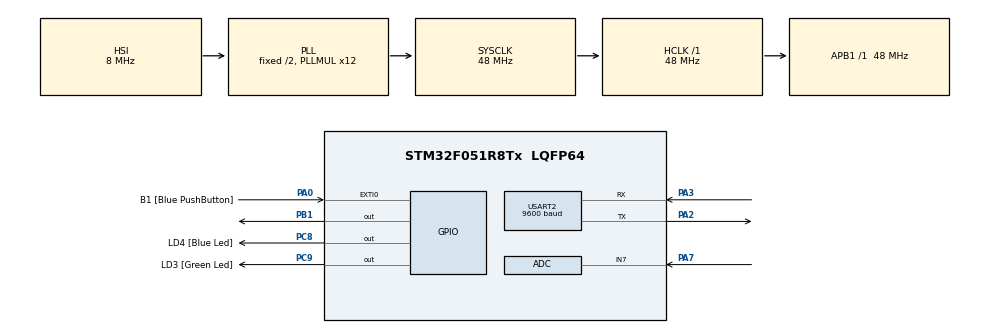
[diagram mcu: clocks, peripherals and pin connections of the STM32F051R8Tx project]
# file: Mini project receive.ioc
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Dma.ADC.0.Direction=DMA_PERIPH_TO_MEMORY
Dma.ADC.0.Instance=DMA1_Channel1
Dma.ADC.0.MemDataAlignment=DMA_MDATAALIGN_HALFWORD
Dma.ADC.0.MemInc=DMA_MINC_ENABLE
Dma.ADC.0.Mode=DMA_NORMAL
Dma.ADC.0.PeriphDataAlignment=DMA_PDATAALIGN_HALFWORD
Dma.ADC.0.PeriphInc=DMA_PINC_DISABLE
Dma.ADC.0.Priority=DMA_PRIORITY_LOW
Dma.Request0=ADC
Dma.Request1=USART2_TX
Dma.USART2_TX.1.Direction=DMA_MEMORY_TO_PERIPH
Dma.USART2_TX.1.Instance=DMA1_Channel4
Dma.USART2_TX.1.MemDataAlignment=DMA_MDATAALIGN_BYTE
Dma.USART2_TX.1.MemInc=DMA_MINC_ENABLE
Dma.USART2_TX.1.Mode=DMA_NORMAL
Dma.USART2_TX.1.PeriphDataAlignment=DMA_PDATAALIGN_BYTE
Dma.USART2_TX.1.PeriphInc=DMA_PINC_DISABLE
Dma.USART2_TX.1.Priority=DMA_PRIORITY_LOW
Mcu.Family=STM32F0
Mcu.Name=STM32F051R8Tx
Mcu.Package=LQFP64
NVIC.ADC1_COMP_IRQn=true\:0\:0\:false\:false\:true\:true\:true\:true
NVIC.DMA1_Channel1_IRQn=true\:0\:0\:false\:false\:true\:false\:true\:true
NVIC.DMA1_Channel4_5_IRQn=true\:0\:0\:false\:false\:true\:false\:true\:true
NVIC.EXTI0_1_IRQn=true\:0\:0\:false\:false\:true\:true\:true\:true
PA0.GPIO_Label=B1 [Blue PushButton]
PA0.GPIO_ModeDefaultEXTI=GPIO_MODE_IT_FALLING
PA0.Signal=GPXTI0
PA13.GPIO_Label=SWDIO
PA13.Mode=Serial_Wire
PA13.Signal=SYS_SWDIO
PA14.GPIO_Label=SWCLK
PA14.Mode=Serial_Wire
PA14.Signal=SYS_SWCLK
PA2.Mode=Asynchronous
PA2.Signal=USART2_TX
PA3.Mode=Asynchronous
PA3.Signal=USART2_RX
PA7.Mode=IN7
PA7.Signal=ADC_IN7
PB1.Signal=GPIO_Output
PB6.Signal=I2C1_SCL
PB7.Signal=I2C1_SDA
PC8.GPIO_Label=LD4 [Blue Led]
PC8.Signal=GPIO_Output
PC9.GPIO_Label=LD3 [Green Led]
PC9.PinState=GPIO_PIN_SET
PC9.Signal=GPIO_Output
PF0-OSC_IN.Mode=HSE-External-Oscillator
PF0-OSC_IN.Signal=RCC_OSC_IN
PF1-OSC_OUT.Mode=HSE-External-Oscillator
PF1-OSC_OUT.Signal=RCC_OSC_OUT
ProjectManager.HeapSize=0x200
ProjectManager.StackSize=0x400
ProjectManager.TargetToolchain=STM32CubeIDE
RCC.AHBFreq_Value=48000000
RCC.APB1Freq_Value=48000000
RCC.APB1TimFreq_Value=48000000
RCC.HCLKFreq_Value=48000000
RCC.PLLMUL=RCC_PLL_MUL12
RCC.SYSCLKFreq_VALUE=48000000
RCC.SYSCLKSource=RCC_SYSCLKSOURCE_PLLCLK
USART2.BaudRate=9600
USART2.VirtualMode-Asynchronous=VM_ASYNC
board=STM32F0DISCOVERY

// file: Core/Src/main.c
/* USER CODE BEGIN Header */

/* USER CODE END Header */
#include "main.h"
#include <math.h>

ADC_HandleTypeDef hadc;
DMA_HandleTypeDef hdma_adc;

UART_HandleTypeDef huart2;
DMA_HandleTypeDef hdma_usart2_tx;

/* USER CODE BEGIN PV */
uint32_t val =0;
uint32_t b = 0;
int binary = 0;
char buffer1[32];
int buffer[12];
uint32_t delay=200;
uint32_t bounce = 0;
int counter =  0;
int inversCounter;

//TO DO:
//TASK 1
//Create global variables for debouncing and delay interval

/* USER CODE END PV */

void SystemClock_Config(void);
static void MX_GPIO_Init(void);
static void MX_DMA_Init(void);
static void MX_USART2_UART_Init(void);
static void MX_ADC_Init(void);
/* USER CODE BEGIN PFP */
void EXTI0_1_IRQHandler(void);
uint32_t pollADC(void);
int binaryToDecimal(int n);

/* USER CODE END PFP */

int main(void)
{

  /* MCU Configuration--------------------------------------------------------*/

  /* Reset of all peripherals, Initializes the Flash interface and the Systick. */
  HAL_Init();

  /* Configure the system clock */
  SystemClock_Config();

  /* Initialize all configured peripherals */
  MX_GPIO_Init();
  MX_DMA_Init();
  MX_USART2_UART_Init();
  MX_ADC_Init();
  /* USER CODE BEGIN 2 */

  //TO DO:
  //Create variables needed in while loop

  /* USER CODE END 2 */

  /* Infinite loop */
  while (1)
  {
	  pollADC();
    /* USER CODE BEGIN 3 */
	  if (delay != 50){
	      	   if (delay == 200){
	      	   		if(	val < 3000){
	      	   		HAL_GPIO_WritePin(GPIOC, GPIO_PIN_9, GPIO_PIN_RESET); // TOGGLE GREEN TO SHOW MASSAGE READY
	      	   			HAL_Delay(delay);
	      	   			pollADC();
	      	   			if(val > 3000){
	      	   				HAL_Delay(delay);
	      	   				pollADC();
	      	   				if(val < 3000){
	      	   					HAL_Delay(delay);
	      	   					pollADC();
	      	   					if (val > 3000){
	      	   						HAL_Delay(delay);
	      	   					HAL_GPIO_WritePin(GPIOC, GPIO_PIN_9, GPIO_PIN_SET); // TOGGLE GREEN TO SHOW MASSAGE READY TO GET DATA
	      	   						delay = 500;
	      	   						}
	      	   					}
	      	   				}
	      	   			}
	      	   		}
	      	   	}
	  if (delay == 500){
		  HAL_GPIO_WritePin(GPIOC, GPIO_PIN_8, GPIO_PIN_SET); // SET BLUE LED HIGH TO SHOW READY TO READ DATA
		  for  (counter = 0 ; counter <12 ; counter++){
			  pollADC();// LDR DATA IS SAMPLED
			  if (val < 3000){// COMPARE VALUE TO A SET VALUE
				  b = 1; // IF SMALL THE IT IS AN LED OF READING AND B IS SET
			  }
			  else{b=0;}// ELSS IT IS A HIGH AND BE IS SET
			  buffer[counter] = b;
			  sprintf(buffer1, "transmit  value:\n %d\r\n", b);//ITS STORD IN A BUFFER THAT WILL BE PRINTED ON PUTTY
			  HAL_UART_Transmit(&huart2, (uint8_t*)buffer1, sizeof(buffer1), 500);
			  HAL_Delay(delay);// THE DELAY IS SET THIS IS DONE TO MATCH THE LED TIMEING AND TO MAKE SURE THE SAMPLE DATA IS THE SAME
		  }

		  if (counter != 12){for(int i=0; i<5;i++){ // IF THERE ARE ANY TIMING ERRORS THEN THE GREEN LED WILL FLASH TO SHOW IT
			  HAL_GPIO_TogglePin(GPIOC, GPIO_PIN_9);
			  HAL_Delay(100);}
		  }
		  // CONVERT THE BINARY DATA TO ITS ADC EQUVALENT AND HANCE IT MUST MATCH THE GIVEN ADC VALUE
		  inversCounter = counter -1;
		  for (int i = 0; i < counter; i++){
			  binary = binary + (int)pow(2,inversCounter)*buffer[i];
			  inversCounter--;
		  }
		  sprintf(buffer1, "Decimal ADC:\n %d\r\n", binary);//ITS STORD IN A BUFFER THAT WILL BE PRINTED ON PUTTY
		  HAL_UART_Transmit(&huart2, (uint8_t*)buffer1, sizeof(buffer1), 500);
		  binary = 0;// AFTER TRANSMISSION REST VALUE FOR NEXT DATA SAMPLE
		  counter = 0;// RESET FOR NEXT DATA SAMPLE
		  HAL_GPIO_WritePin(GPIOC, GPIO_PIN_8, GPIO_PIN_RESET);// SHOWS THAT DATA IS DONE RECIVING AND WILL TURN OF BLUE LED
		  delay = 100;
	  }
	  if(delay == 100){
		  pollADC();
		  if(val < 3000){// CHECKS IF END BIT IS CORRECT
			  HAL_GPIO_WritePin(GPIOC, GPIO_PIN_9, GPIO_PIN_RESET); // TOGGLE GREEN TO SHOW MASSAGE done AND START OF END BIT
			  HAL_Delay(900);
			  HAL_GPIO_WritePin(GPIOC, GPIO_PIN_9, GPIO_PIN_SET);// THIS IS TO SHOW END BIT WAS SEEN
			  delay = 200;//NEW DELAY VALUE IS SET FOR THE RECEIVER TO GO BACK TO WAITING FOR THE START BIT
		  }
	  }
	         }

  /* USER CODE END 3 */
}

void SystemClock_Config(void)
{
  RCC_OscInitTypeDef RCC_OscInitStruct = {0};
  RCC_ClkInitTypeDef RCC_ClkInitStruct = {0};

  /** Initializes the RCC Oscillators according to the specified parameters
  * in the RCC_OscInitTypeDef structure.
  */
  RCC_OscInitStruct.OscillatorType = RCC_OSCILLATORTYPE_HSI|RCC_OSCILLATORTYPE_HSI14;
  RCC_OscInitStruct.HSIState = RCC_HSI_ON;
  RCC_OscInitStruct.HSI14State = RCC_HSI14_ON;
  RCC_OscInitStruct.HSICalibrationValue = RCC_HSICALIBRATION_DEFAULT;
  RCC_OscInitStruct.HSI14CalibrationValue = 16;
  RCC_OscInitStruct.PLL.PLLState = RCC_PLL_ON;
  RCC_OscInitStruct.PLL.PLLSource = RCC_PLLSOURCE_HSI;
  RCC_OscInitStruct.PLL.PLLMUL = RCC_PLL_MUL12;
  RCC_OscInitStruct.PLL.PREDIV = RCC_PREDIV_DIV1;
  if (HAL_RCC_OscConfig(&RCC_OscInitStruct) != HAL_OK)
  {
    Error_Handler();
  }

  /** Initializes the CPU, AHB and APB buses clocks
  */
  RCC_ClkInitStruct.ClockType = RCC_CLOCKTYPE_HCLK|RCC_CLOCKTYPE_SYSCLK
                              |RCC_CLOCKTYPE_PCLK1;
  RCC_ClkInitStruct.SYSCLKSource = RCC_SYSCLKSOURCE_PLLCLK;
  RCC_ClkInitStruct.AHBCLKDivider = RCC_SYSCLK_DIV1;
  RCC_ClkInitStruct.APB1CLKDivider = RCC_HCLK_DIV1;

  if (HAL_RCC_ClockConfig(&RCC_ClkInitStruct, FLASH_LATENCY_1) != HAL_OK)
  {
    Error_Handler();
  }
}

static void MX_ADC_Init(void)
{

  ADC_ChannelConfTypeDef sConfig = {0};

  /** Configure the global features of the ADC (Clock, Resolution, Data Alignment and number of conversion)
  */
  hadc.Instance = ADC1;
  hadc.Init.ClockPrescaler = ADC_CLOCK_ASYNC_DIV1;
  hadc.Init.Resolution = ADC_RESOLUTION_12B;
  hadc.Init.DataAlign = ADC_DATAALIGN_RIGHT;
  hadc.Init.ScanConvMode = ADC_SCAN_DIRECTION_FORWARD;
  hadc.Init.EOCSelection = ADC_EOC_SINGLE_CONV;
  hadc.Init.LowPowerAutoWait = DISABLE;
  hadc.Init.LowPowerAutoPowerOff = DISABLE;
  hadc.Init.ContinuousConvMode = DISABLE;
  hadc.Init.DiscontinuousConvMode = DISABLE;
  hadc.Init.ExternalTrigConv = ADC_SOFTWARE_START;
  hadc.Init.ExternalTrigConvEdge = ADC_EXTERNALTRIGCONVEDGE_NONE;
  hadc.Init.DMAContinuousRequests = DISABLE;
  hadc.Init.Overrun = ADC_OVR_DATA_PRESERVED;
  if (HAL_ADC_Init(&hadc) != HAL_OK)
  {
    Error_Handler();
  }

  /** Configure for the selected ADC regular channel to be converted.
  */
  sConfig.Channel = ADC_CHANNEL_7;
  sConfig.Rank = ADC_RANK_CHANNEL_NUMBER;
  sConfig.SamplingTime = ADC_SAMPLETIME_1CYCLE_5;
  if (HAL_ADC_ConfigChannel(&hadc, &sConfig) != HAL_OK)
  {
    Error_Handler();
  }

}

static void MX_USART2_UART_Init(void)
{

  huart2.Instance = USART2;
  huart2.Init.BaudRate = 9600;
  huart2.Init.WordLength = UART_WORDLENGTH_8B;
  huart2.Init.StopBits = UART_STOPBITS_1;
  huart2.Init.Parity = UART_PARITY_NONE;
  huart2.Init.Mode = UART_MODE_TX_RX;
  huart2.Init.HwFlowCtl = UART_HWCONTROL_NONE;
  huart2.Init.OverSampling = UART_OVERSAMPLING_16;
  huart2.Init.OneBitSampling = UART_ONE_BIT_SAMPLE_DISABLE;
  huart2.AdvancedInit.AdvFeatureInit = UART_ADVFEATURE_NO_INIT;
  if (HAL_UART_Init(&huart2) != HAL_OK)
  {
    Error_Handler();
  }

}

static void MX_DMA_Init(void)
{

  /* DMA controller clock enable */
  __HAL_RCC_DMA1_CLK_ENABLE();

  /* DMA interrupt init */
  /* DMA1_Channel1_IRQn interrupt configuration */
  HAL_NVIC_SetPriority(DMA1_Channel1_IRQn, 0, 0);
  HAL_NVIC_EnableIRQ(DMA1_Channel1_IRQn);
  /* DMA1_Channel4_5_IRQn interrupt configuration */
  HAL_NVIC_SetPriority(DMA1_Channel4_5_IRQn, 0, 0);
  HAL_NVIC_EnableIRQ(DMA1_Channel4_5_IRQn);

}

static void MX_GPIO_Init(void)
{
  GPIO_InitTypeDef GPIO_InitStruct = {0};

  /* GPIO Ports Clock Enable */
  __HAL_RCC_GPIOF_CLK_ENABLE();
  __HAL_RCC_GPIOA_CLK_ENABLE();
  __HAL_RCC_GPIOB_CLK_ENABLE();
  __HAL_RCC_GPIOC_CLK_ENABLE();

  /*Configure GPIO pin Output Level */
  HAL_GPIO_WritePin(GPIOB, GPIO_PIN_1, GPIO_PIN_RESET);

  /*Configure GPIO pin Output Level */
  HAL_GPIO_WritePin(LD4_GPIO_Port, LD4_Pin, GPIO_PIN_RESET);

  /*Configure GPIO pin Output Level */
  HAL_GPIO_WritePin(LD3_GPIO_Port, LD3_Pin, GPIO_PIN_SET);

  /*Configure GPIO pin : B1_Pin */
  GPIO_InitStruct.Pin = B1_Pin;
  GPIO_InitStruct.Mode = GPIO_MODE_IT_FALLING;
  GPIO_InitStruct.Pull = GPIO_NOPULL;
  HAL_GPIO_Init(B1_GPIO_Port, &GPIO_InitStruct);

  /*Configure GPIO pin : PB1 */
  GPIO_InitStruct.Pin = GPIO_PIN_1;
  GPIO_InitStruct.Mode = GPIO_MODE_OUTPUT_PP;
  GPIO_InitStruct.Pull = GPIO_NOPULL;
  GPIO_InitStruct.Speed = GPIO_SPEED_FREQ_LOW;
  HAL_GPIO_Init(GPIOB, &GPIO_InitStruct);

  /*Configure GPIO pins : LD4_Pin LD3_Pin */
  GPIO_InitStruct.Pin = LD4_Pin|LD3_Pin;
  GPIO_InitStruct.Mode = GPIO_MODE_OUTPUT_PP;
  GPIO_InitStruct.Pull = GPIO_NOPULL;
  GPIO_InitStruct.Speed = GPIO_SPEED_FREQ_LOW;
  HAL_GPIO_Init(GPIOC, &GPIO_InitStruct);

  /*Configure GPIO pins : PB6 PB7 */
  GPIO_InitStruct.Pin = GPIO_PIN_6|GPIO_PIN_7;
  GPIO_InitStruct.Mode = GPIO_MODE_AF_OD;
  GPIO_InitStruct.Pull = GPIO_NOPULL;
  GPIO_InitStruct.Speed = GPIO_SPEED_FREQ_HIGH;
  GPIO_InitStruct.Alternate = GPIO_AF1_I2C1;
  HAL_GPIO_Init(GPIOB, &GPIO_InitStruct);

  /* EXTI interrupt init*/
  HAL_NVIC_SetPriority(EXTI0_1_IRQn, 0, 0);
  HAL_NVIC_EnableIRQ(EXTI0_1_IRQn);

}

/* USER CODE BEGIN 4 */
void EXTI0_1_IRQHandler(void)
{
	//TO DO:
	//TASK 1
	//Switch delay frequency
	if((HAL_GetTick()- bounce)>10){
		if(delay==200)
		{
		HAL_GPIO_TogglePin(GPIOC, GPIO_PIN_9); // Toggle blue LED
		delay=50;
		}
		else
		{
			HAL_GPIO_TogglePin(GPIOC, GPIO_PIN_9); // Toggle blue LED
			delay=200;
		}
		bounce = HAL_GetTick();
	}

	HAL_GPIO_EXTI_IRQHandler(B1_Pin); // Clear interrupt flags

}

uint32_t pollADC(void){
	//TO DO:
	//TASK 2
	// Complete the function body`
	// Test: Set GPIO pin high
    HAL_GPIO_WritePin(GPIOA, GPIO_PIN_7, GPIO_PIN_SET);

    // Get ADC value
    HAL_ADC_Start(&hadc);
    HAL_ADC_PollForConversion(&hadc, HAL_MAX_DELAY);
    val = HAL_ADC_GetValue(&hadc);

    // Test: Set GPIO pin low
    HAL_GPIO_WritePin(GPIOA, GPIO_PIN_7, GPIO_PIN_RESET);
	return val;
}

/* USER CODE END 4 */

void Error_Handler(void)
{
  __disable_irq();
  while (1)
  {
  }
}
